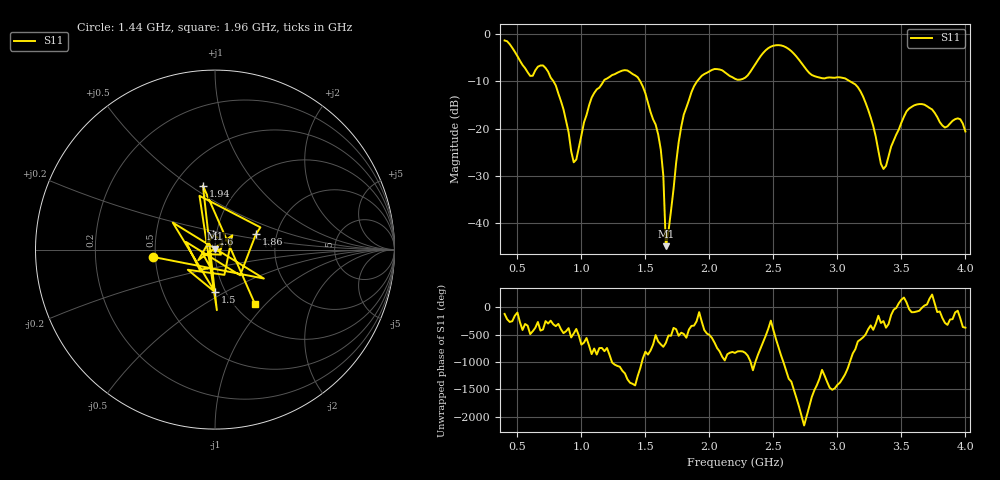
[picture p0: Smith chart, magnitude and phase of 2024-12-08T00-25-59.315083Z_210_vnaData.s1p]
!Created with skrf (http://scikit-rf.org).
# Hz S RI R 50.0
!freq ReS11 ImS11
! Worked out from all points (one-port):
!   181 points, 400 MHz to 4 GHz, reference 50 ohm
!   lowest |S11| = -44.9 dB at 1.66 GHz (marker M1), VSWR 1.01, Z = 50.2 + j0.541 ohm
!   |S11| at or under -10 dB: 782.2 MHz to 1.172 GHz (390 MHz wide, 39.9 % of centre); 1.46 GHz to 1.904 GHz (443.4 MHz wide, 26.4 % of centre); 3.101 GHz to end of sweep
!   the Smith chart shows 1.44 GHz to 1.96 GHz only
!   S11 on the Smith chart (normalised r, x): 1.44 GHz: 0.48, -0.04; 1.5 GHz: 0.89, -0.45; 1.6 GHz: 0.97, +0.17; 1.86 GHz: 1.56, +0.29; 1.94 GHz: 0.69, +0.56; 1.96 GHz: 1.23, -0.88
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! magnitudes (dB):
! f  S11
! 400 MHz  -1.3
! 600 MHz  -8.8
! 720 MHz  -7.1
! 860 MHz  -15.9
! 940 MHz  -27.1
! 1.08 GHz  -13.4
! 1.3 GHz  -7.9
! 1.44 GHz  -9.1
! 1.5 GHz  -12.5
! 1.6 GHz  -21.3
! 1.64 GHz  -30.0
! 1.66 GHz  -44.9
! 1.76 GHz  -22.9
! 1.86 GHz  -12.3
! 1.94 GHz  -8.8
! 1.96 GHz  -8.4
! 2.2 GHz  -9.4
! 2.48 GHz  -2.6
! 2.66 GHz  -4.1
! 2.8 GHz  -8.6
! 3.1 GHz  -10.0
! 3.22 GHz  -14.5
! 3.36 GHz  -28.6
! 3.56 GHz  -15.8
! 3.68 GHz  -14.9
! 3.84 GHz  -19.8
! 3.96 GHz  -18.0
! 4 GHz  -20.6
